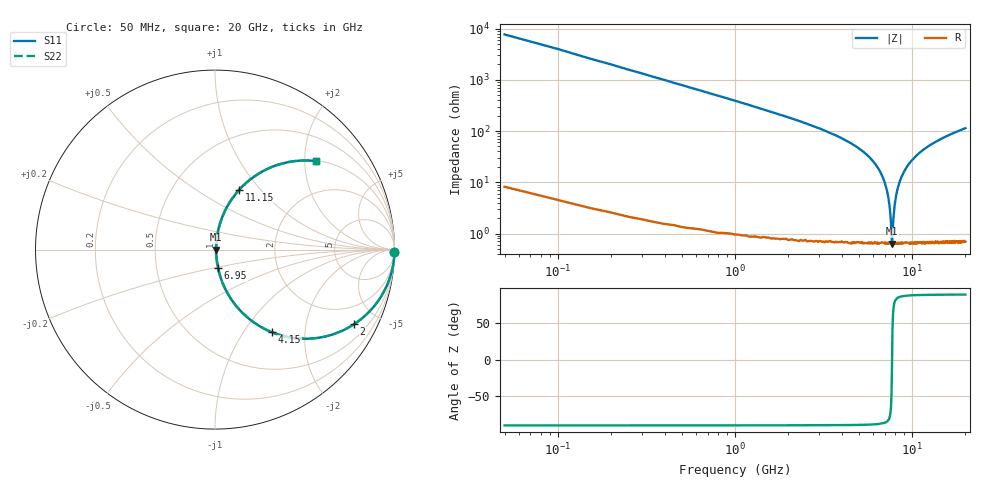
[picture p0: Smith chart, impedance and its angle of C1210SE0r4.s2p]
! AVX Thin Film Operation		Date: April 2012
! Description: Accu-P® Series, Thin Film, SMD, RF Capacitor
! Part Number: 12101J0R4PBTTR
!	100	MHz	-	20.05	GHz
!	Serial	Measurements
#	MHZ	S	MA	R	50
!	S11	S21	S12	S22
!	dB	Phase	dB	Phase	dB	Phase	dB	Phase
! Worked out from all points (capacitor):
!   400 points, 50 MHz to 20 GHz, reference 50 ohm
!   read as one part in series: C = 401 fF near 150 MHz
!   lowest |Z| = 635 mohm at 7.7 GHz (marker M1)
!   series resonance near 7.707 GHz, so ESL is about 1.1 nH
!   S11 on the Smith chart (normalised r, x): 50 MHz: open; 2 GHz: 1.01, -3.71; 4.15 GHz: 1.01, -1.36; 6.95 GHz: 1.01, -0.21; 11.15 GHz: 1.01, +0.78; 20 GHz: 1.01, +2.28
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50  1 -0.7  0.013 89.2  0.013 89.2  1 -0.7
100  1 -1.4  0.025 88.5  0.025 88.5  1 -1.4
200  0.999 -2.9  0.05 87.0  0.05 87.0  0.999 -2.9
550  0.99 -7.9  0.138 82.0  0.138 82.0  0.99 -7.9
1150  0.958 -16.5  0.283 73.4  0.283 73.4  0.958 -16.5
2000  0.879 -28.3  0.474 61.5  0.474 61.5  0.879 -28.3
3400  0.683 -46.5  0.725 43.1  0.725 43.1  0.683 -46.5
4150  0.56 -55.4  0.823 34.1  0.823 34.1  0.56 -55.4
5700  0.3 -71.4  0.948 17.4  0.948 17.4  0.3 -71.4
6700  0.143 -79.2  0.983 8.2  0.983 8.2  0.143 -79.2
6950  0.106 -80.4  0.988 6.1  0.988 6.1  0.106 -80.4
7450  0.035 -77.5  0.993 2.0  0.993 2.0  0.035 -77.5
7600  0.016 -64.9  0.993 0.8  0.993 0.8  0.016 -64.9
7700  0.006545 -8.3  0.994 0.1  0.994 0.1  0.006545 -8.3
7950  0.032 76.7  0.993 -1.8  0.993 -1.8  0.032 76.7
8300  0.076 80.8  0.991 -4.4  0.991 -4.4  0.076 80.8
9000  0.158 78.6  0.981 -9.1  0.981 -9.1  0.158 78.6
10050  0.266 73.2  0.958 -15.4  0.958 -15.4  0.266 73.2
11150  0.361 67.9  0.926 -21.2  0.926 -21.2  0.361 67.9
13350  0.51 58.7  0.855 -30.6  0.855 -30.6  0.51 58.7
16700  0.658 48.4  0.748 -41.2  0.748 -41.2  0.658 48.4
20000  0.75 41.1  0.657 -48.6  0.657 -48.6  0.75 41.1
